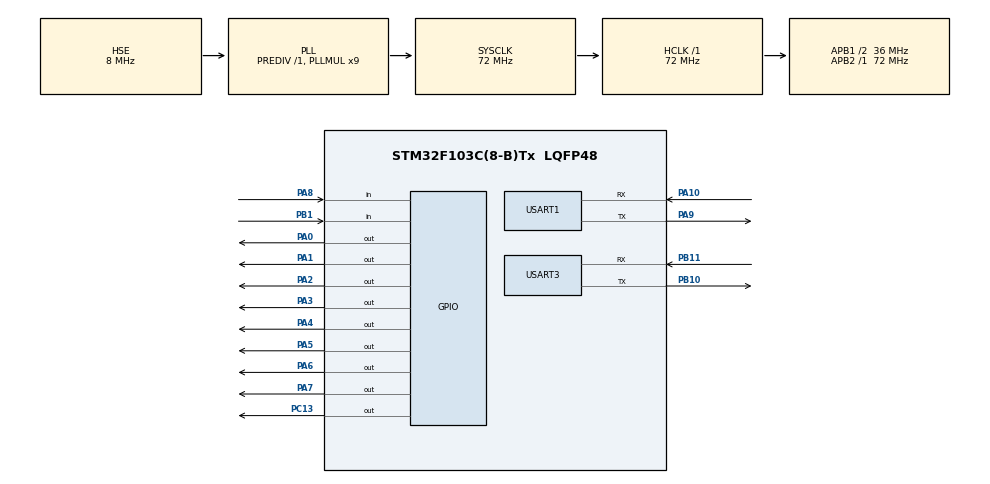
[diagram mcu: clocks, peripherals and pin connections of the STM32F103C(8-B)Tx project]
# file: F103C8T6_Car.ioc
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Dma.Request0=USART1_RX
Dma.Request1=USART3_RX
Dma.Request2=USART1_TX
Dma.Request3=USART3_TX
Dma.USART1_RX.0.Direction=DMA_PERIPH_TO_MEMORY
Dma.USART1_RX.0.Instance=DMA1_Channel5
Dma.USART1_RX.0.MemDataAlignment=DMA_MDATAALIGN_BYTE
Dma.USART1_RX.0.MemInc=DMA_MINC_ENABLE
Dma.USART1_RX.0.Mode=DMA_NORMAL
Dma.USART1_RX.0.PeriphDataAlignment=DMA_PDATAALIGN_BYTE
Dma.USART1_RX.0.PeriphInc=DMA_PINC_DISABLE
Dma.USART1_RX.0.Priority=DMA_PRIORITY_LOW
Dma.USART1_TX.2.Direction=DMA_MEMORY_TO_PERIPH
Dma.USART1_TX.2.Instance=DMA1_Channel4
Dma.USART1_TX.2.MemDataAlignment=DMA_MDATAALIGN_BYTE
Dma.USART1_TX.2.MemInc=DMA_MINC_ENABLE
Dma.USART1_TX.2.Mode=DMA_NORMAL
Dma.USART1_TX.2.PeriphDataAlignment=DMA_PDATAALIGN_BYTE
Dma.USART1_TX.2.PeriphInc=DMA_PINC_DISABLE
Dma.USART1_TX.2.Priority=DMA_PRIORITY_LOW
Dma.USART3_RX.1.Direction=DMA_PERIPH_TO_MEMORY
Dma.USART3_RX.1.Instance=DMA1_Channel3
Dma.USART3_RX.1.MemDataAlignment=DMA_MDATAALIGN_BYTE
Dma.USART3_RX.1.MemInc=DMA_MINC_ENABLE
Dma.USART3_RX.1.Mode=DMA_NORMAL
Dma.USART3_RX.1.PeriphDataAlignment=DMA_PDATAALIGN_BYTE
Dma.USART3_RX.1.PeriphInc=DMA_PINC_DISABLE
Dma.USART3_RX.1.Priority=DMA_PRIORITY_LOW
Dma.USART3_TX.3.Direction=DMA_MEMORY_TO_PERIPH
Dma.USART3_TX.3.Instance=DMA1_Channel2
Dma.USART3_TX.3.MemDataAlignment=DMA_MDATAALIGN_BYTE
Dma.USART3_TX.3.MemInc=DMA_MINC_ENABLE
Dma.USART3_TX.3.Mode=DMA_NORMAL
Dma.USART3_TX.3.PeriphDataAlignment=DMA_PDATAALIGN_BYTE
Dma.USART3_TX.3.PeriphInc=DMA_PINC_DISABLE
Dma.USART3_TX.3.Priority=DMA_PRIORITY_LOW
FREERTOS.Tasks01=defaultTask,0,64,StartDefaultTask,Default,NULL,Dynamic,NULL,NULL;controlTask,-1,64,StartControlTask,Default,NULL,Dynamic,NULL,NULL
FREERTOS.configMINIMAL_STACK_SIZE=64
FREERTOS.configTOTAL_HEAP_SIZE=2048
Mcu.Family=STM32F1
Mcu.Name=STM32F103C(8-B)Tx
Mcu.Package=LQFP48
NVIC.DMA1_Channel2_IRQn=true\:5\:0\:false\:false\:true\:true\:false
NVIC.DMA1_Channel3_IRQn=true\:5\:0\:false\:false\:true\:true\:false
NVIC.DMA1_Channel4_IRQn=true\:5\:0\:false\:false\:true\:true\:false
NVIC.DMA1_Channel5_IRQn=true\:5\:0\:false\:false\:true\:true\:false
NVIC.PriorityGroup=NVIC_PRIORITYGROUP_4
NVIC.TIM1_UP_IRQn=true\:0\:0\:false\:false\:true\:false\:false
NVIC.TimeBase=TIM1_UP_IRQn
NVIC.TimeBaseIP=TIM1
NVIC.USART1_IRQn=true\:5\:0\:false\:false\:true\:true\:true
NVIC.USART3_IRQn=true\:5\:0\:false\:false\:true\:true\:true
PA0-WKUP.Signal=GPIO_Output
PA1.Signal=GPIO_Output
PA10.Mode=Asynchronous
PA10.Signal=USART1_RX
PA13.Mode=Serial_Wire
PA13.Signal=SYS_JTMS-SWDIO
PA14.Mode=Serial_Wire
PA14.Signal=SYS_JTCK-SWCLK
PA2.Signal=GPIO_Output
PA3.Signal=GPIO_Output
PA4.Signal=GPIO_Output
PA5.Signal=GPIO_Output
PA6.Signal=GPIO_Output
PA7.Signal=GPIO_Output
PA8.GPIO_PuPd=GPIO_PULLUP
PA8.Signal=GPIO_Input
PA9.Mode=Asynchronous
PA9.Signal=USART1_TX
PB1.GPIO_PuPd=GPIO_PULLUP
PB1.Signal=GPIO_Input
PB10.Mode=Asynchronous
PB10.Signal=USART3_TX
PB11.Mode=Asynchronous
PB11.Signal=USART3_RX
PC13-TAMPER-RTC.Signal=GPIO_Output
PC14-OSC32_IN.Mode=LSE-External-Oscillator
PC14-OSC32_IN.Signal=RCC_OSC32_IN
PC15-OSC32_OUT.Mode=LSE-External-Oscillator
PC15-OSC32_OUT.Signal=RCC_OSC32_OUT
PD0-OSC_IN.Mode=HSE-External-Oscillator
PD0-OSC_IN.Signal=RCC_OSC_IN
PD1-OSC_OUT.Mode=HSE-External-Oscillator
PD1-OSC_OUT.Signal=RCC_OSC_OUT
ProjectManager.HeapSize=0x1000
ProjectManager.StackSize=0x1000
ProjectManager.TargetToolchain=MDK-ARM V5
RCC.AHBFreq_Value=72000000
RCC.APB1CLKDivider=RCC_HCLK_DIV2
RCC.APB1Freq_Value=36000000
RCC.APB1TimFreq_Value=72000000
RCC.APB2Freq_Value=72000000
RCC.APB2TimFreq_Value=72000000
RCC.HCLKFreq_Value=72000000
RCC.PLLMUL=RCC_PLL_MUL9
RCC.PLLSourceVirtual=RCC_PLLSOURCE_HSE
RCC.SYSCLKFreq_VALUE=72000000
RCC.SYSCLKSource=RCC_SYSCLKSOURCE_PLLCLK
RCC.USBFreq_Value=48000000
RCC.USBPrescaler=RCC_USBCLKSOURCE_PLL_DIV1_5
USART1.VirtualMode=VM_ASYNC
USART3.VirtualMode=VM_ASYNC
VP_CRC_VS_CRC.Mode=CRC_Activate
VP_FREERTOS_VS_ENABLE.Mode=Enabled
VP_IWDG_VS_IWDG.Mode=IWDG_Activate
VP_SYS_VS_tim1.Mode=TIM1
board=F103C8T6_Car

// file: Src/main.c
/**
  ******************************************************************************
  * File Name          : main.c
  * Description        : Main program body
  ******************************************************************************
  * This notice applies to any and all portions of this file
  * that are not between comment pairs USER CODE BEGIN and
  * USER CODE END. Other portions of this file, whether
  * inserted by the user or by software development tools
  * are owned by their respective copyright owners.
  *
  * Copyright (c) 2018 STMicroelectronics International N.V.
  * All rights reserved.
  *
  * Redistribution and use in source and binary forms, with or without
  * modification, are permitted, provided that the following conditions are met:
  *
  * 1. Redistribution of source code must retain the above copyright notice,
  *    this list of conditions and the following disclaimer.
  * 2. Redistributions in binary form must reproduce the above copyright notice,
  *    this list of conditions and the following disclaimer in the documentation
  *    and/or other materials provided with the distribution.
  * 3. Neither the name of STMicroelectronics nor the names of other
  *    contributors to this software may be used to endorse or promote products
  *    derived from this software without specific written permission.
  * 4. This software, including modifications and/or derivative works of this
  *    software, must execute solely and exclusively on microcontroller or
  *    microprocessor devices manufactured by or for STMicroelectronics.
  * 5. Redistribution and use of this software other than as permitted under
  *    this license is void and will automatically terminate your rights under
  *    this license.
  *
  * THIS SOFTWARE IS PROVIDED BY STMICROELECTRONICS AND CONTRIBUTORS "AS IS"
  * AND ANY EXPRESS, IMPLIED OR STATUTORY WARRANTIES, INCLUDING, BUT NOT
  * LIMITED TO, THE IMPLIED WARRANTIES OF MERCHANTABILITY, FITNESS FOR A
  * PARTICULAR PURPOSE AND NON-INFRINGEMENT OF THIRD PARTY INTELLECTUAL PROPERTY
  * RIGHTS ARE DISCLAIMED TO THE FULLEST EXTENT PERMITTED BY LAW. IN NO EVENT
  * SHALL STMICROELECTRONICS OR CONTRIBUTORS BE LIABLE FOR ANY DIRECT, INDIRECT,
  * INCIDENTAL, SPECIAL, EXEMPLARY, OR CONSEQUENTIAL DAMAGES (INCLUDING, BUT NOT
  * LIMITED TO, PROCUREMENT OF SUBSTITUTE GOODS OR SERVICES; LOSS OF USE, DATA,
  * OR PROFITS; OR BUSINESS INTERRUPTION) HOWEVER CAUSED AND ON ANY THEORY OF
  * LIABILITY, WHETHER IN CONTRACT, STRICT LIABILITY, OR TORT (INCLUDING
  * NEGLIGENCE OR OTHERWISE) ARISING IN ANY WAY OUT OF THE USE OF THIS SOFTWARE,
  * EVEN IF ADVISED OF THE POSSIBILITY OF SUCH DAMAGE.
  *
  ******************************************************************************
  */

#include "main.h"
#include "stm32f1xx_hal.h"
#include "cmsis_os.h"
#include "crc.h"
#include "dma.h"
#include "iwdg.h"
#include "usart.h"
#include "gpio.h"

/* USER CODE BEGIN PV */
/* Private variables ---------------------------------------------------------*/

/* USER CODE END PV */

void SystemClock_Config(void);
void MX_FREERTOS_Init(void);

/* USER CODE BEGIN PFP */
/* Private function prototypes -----------------------------------------------*/

/* USER CODE END PFP */

int main(void)
{

  /* MCU Configuration----------------------------------------------------------*/

  /* Reset of all peripherals, Initializes the Flash interface and the Systick. */
  HAL_Init();

  /* Configure the system clock */
  SystemClock_Config();

  /* Initialize all configured peripherals */
  MX_GPIO_Init();
  MX_DMA_Init();
  MX_CRC_Init();
  MX_IWDG_Init();
  MX_USART1_UART_Init();
  MX_USART3_UART_Init();

  /* Call init function for freertos objects (in freertos.c) */
  MX_FREERTOS_Init();

  /* Start scheduler */
  osKernelStart();

  /* We should never get here as control is now taken by the scheduler */

  /* Infinite loop */
  while (1)
  {

  }

}

/** System Clock Configuration
*/
void SystemClock_Config(void)
{

  RCC_OscInitTypeDef RCC_OscInitStruct;
  RCC_ClkInitTypeDef RCC_ClkInitStruct;

    /**Initializes the CPU, AHB and APB busses clocks
    */
  RCC_OscInitStruct.OscillatorType = RCC_OSCILLATORTYPE_LSI|RCC_OSCILLATORTYPE_HSE;
  RCC_OscInitStruct.HSEState = RCC_HSE_ON;
  RCC_OscInitStruct.HSEPredivValue = RCC_HSE_PREDIV_DIV1;
  RCC_OscInitStruct.HSIState = RCC_HSI_ON;
  RCC_OscInitStruct.LSIState = RCC_LSI_ON;
  RCC_OscInitStruct.PLL.PLLState = RCC_PLL_ON;
  RCC_OscInitStruct.PLL.PLLSource = RCC_PLLSOURCE_HSE;
  RCC_OscInitStruct.PLL.PLLMUL = RCC_PLL_MUL9;
  if (HAL_RCC_OscConfig(&RCC_OscInitStruct) != HAL_OK)
  {
    _Error_Handler(__FILE__, __LINE__);
  }

    /**Initializes the CPU, AHB and APB busses clocks
    */
  RCC_ClkInitStruct.ClockType = RCC_CLOCKTYPE_HCLK|RCC_CLOCKTYPE_SYSCLK
                              |RCC_CLOCKTYPE_PCLK1|RCC_CLOCKTYPE_PCLK2;
  RCC_ClkInitStruct.SYSCLKSource = RCC_SYSCLKSOURCE_PLLCLK;
  RCC_ClkInitStruct.AHBCLKDivider = RCC_SYSCLK_DIV1;
  RCC_ClkInitStruct.APB1CLKDivider = RCC_HCLK_DIV2;
  RCC_ClkInitStruct.APB2CLKDivider = RCC_HCLK_DIV1;

  if (HAL_RCC_ClockConfig(&RCC_ClkInitStruct, FLASH_LATENCY_2) != HAL_OK)
  {
    _Error_Handler(__FILE__, __LINE__);
  }

    /**Configure the Systick interrupt time
    */
  HAL_SYSTICK_Config(HAL_RCC_GetHCLKFreq()/1000);

    /**Configure the Systick
    */
  HAL_SYSTICK_CLKSourceConfig(SYSTICK_CLKSOURCE_HCLK);

  /* SysTick_IRQn interrupt configuration */
  HAL_NVIC_SetPriority(SysTick_IRQn, 15, 0);
}

void HAL_TIM_PeriodElapsedCallback(TIM_HandleTypeDef *htim)
{
  if (htim->Instance == TIM1) {
    HAL_IncTick();
  }
}

void _Error_Handler(char * file, int line)
{
  while(1)
  {
  }
}

/************************ (C) COPYRIGHT STMicroelectronics *****END OF FILE****/

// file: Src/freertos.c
/**
  ******************************************************************************
  * File Name          : freertos.c
  * Description        : Code for freertos applications
  ******************************************************************************
  * This notice applies to any and all portions of this file
  * that are not between comment pairs USER CODE BEGIN and
  * USER CODE END. Other portions of this file, whether
  * inserted by the user or by software development tools
  * are owned by their respective copyright owners.
  *
  * Copyright (c) 2018 STMicroelectronics International N.V.
  * All rights reserved.
  *
  * Redistribution and use in source and binary forms, with or without
  * modification, are permitted, provided that the following conditions are met:
  *
  * 1. Redistribution of source code must retain the above copyright notice,
  *    this list of conditions and the following disclaimer.
  * 2. Redistributions in binary form must reproduce the above copyright notice,
  *    this list of conditions and the following disclaimer in the documentation
  *    and/or other materials provided with the distribution.
  * 3. Neither the name of STMicroelectronics nor the names of other
  *    contributors to this software may be used to endorse or promote products
  *    derived from this software without specific written permission.
  * 4. This software, including modifications and/or derivative works of this
  *    software, must execute solely and exclusively on microcontroller or
  *    microprocessor devices manufactured by or for STMicroelectronics.
  * 5. Redistribution and use of this software other than as permitted under
  *    this license is void and will automatically terminate your rights under
  *    this license.
  *
  * THIS SOFTWARE IS PROVIDED BY STMICROELECTRONICS AND CONTRIBUTORS "AS IS"
  * AND ANY EXPRESS, IMPLIED OR STATUTORY WARRANTIES, INCLUDING, BUT NOT
  * LIMITED TO, THE IMPLIED WARRANTIES OF MERCHANTABILITY, FITNESS FOR A
  * PARTICULAR PURPOSE AND NON-INFRINGEMENT OF THIRD PARTY INTELLECTUAL PROPERTY
  * RIGHTS ARE DISCLAIMED TO THE FULLEST EXTENT PERMITTED BY LAW. IN NO EVENT
  * SHALL STMICROELECTRONICS OR CONTRIBUTORS BE LIABLE FOR ANY DIRECT, INDIRECT,
  * INCIDENTAL, SPECIAL, EXEMPLARY, OR CONSEQUENTIAL DAMAGES (INCLUDING, BUT NOT
  * LIMITED TO, PROCUREMENT OF SUBSTITUTE GOODS OR SERVICES; LOSS OF USE, DATA,
  * OR PROFITS; OR BUSINESS INTERRUPTION) HOWEVER CAUSED AND ON ANY THEORY OF
  * LIABILITY, WHETHER IN CONTRACT, STRICT LIABILITY, OR TORT (INCLUDING
  * NEGLIGENCE OR OTHERWISE) ARISING IN ANY WAY OUT OF THE USE OF THIS SOFTWARE,
  * EVEN IF ADVISED OF THE POSSIBILITY OF SUCH DAMAGE.
  *
  ******************************************************************************
  */

#include "FreeRTOS.h"
#include "task.h"
#include "cmsis_os.h"

/* USER CODE BEGIN Includes */
#include <string.h>
#include "iwdg.h"
#include "usart.h"
#include "CarControl.h"
/* USER CODE END Includes */

osThreadId defaultTaskHandle;
osThreadId controlTaskHandle;

/* USER CODE BEGIN Variables */
#define RX_SIZE 32
static uint8_t Rx1[RX_SIZE];
static uint8_t Rx3[RX_SIZE];

static osMailQId MailBoxId;
struct _Mail {
	uint8_t  buf[RX_SIZE];
	uint32_t size;
};
/* USER CODE END Variables */

void StartDefaultTask(void const * argument);
void StartControlTask(void const * argument);

void MX_FREERTOS_Init(void); /* (MISRA C 2004 rule 8.1) */

/* USER CODE BEGIN FunctionPrototypes */
static void ExecCarCmd(uint8_t *, uint16_t);
/* USER CODE END FunctionPrototypes */

/* Hook prototypes */

/* Init FreeRTOS */

void MX_FREERTOS_Init(void) {

  /* Create the thread(s) */
  /* definition and creation of defaultTask */
  osThreadDef(defaultTask, StartDefaultTask, osPriorityNormal, 0, 64);
  defaultTaskHandle = osThreadCreate(osThread(defaultTask), NULL);

  /* definition and creation of controlTask */
  osThreadDef(controlTask, StartControlTask, osPriorityBelowNormal, 0, 64);
  controlTaskHandle = osThreadCreate(osThread(controlTask), NULL);

}

/* StartDefaultTask function */
void StartDefaultTask(void const * argument)
{

  /* USER CODE BEGIN StartDefaultTask */
	const struct _CarControl *CarController = GetCarController();
	/* Infinite loop */
	for (;;) {
		HAL_IWDG_Refresh(&hiwdg);
		if (!HAL_GPIO_ReadPin(GPIOA, GPIO_PIN_8) && !HAL_GPIO_ReadPin(GPIOB, GPIO_PIN_1))
		{
			CarController->Stop();
			HAL_GPIO_TogglePin(GPIOC, GPIO_PIN_13);
		}
		else
			HAL_GPIO_WritePin(GPIOC, GPIO_PIN_13, GPIO_PIN_SET);
		osDelay(250);
	}
  /* USER CODE END StartDefaultTask */
}

/* StartControlTask function */
void StartControlTask(void const * argument)
{
  /* USER CODE BEGIN StartControlTask */
	osEvent event;
	struct _Mail *Mail = NULL;

	osMailQDef(MailBox, 8, struct _Mail);
	MailBoxId = osMailCreate(osMailQ(MailBox), NULL);

	HAL_UART_Receive_DMA(&huart1, Rx1, sizeof(Rx1));
	__HAL_UART_CLEAR_IDLEFLAG(&huart1);
	__HAL_UART_ENABLE_IT(&huart1, UART_IT_IDLE);

	HAL_UART_Receive_DMA(&huart3, Rx3, sizeof(Rx3));
	__HAL_UART_CLEAR_IDLEFLAG(&huart3);
	__HAL_UART_ENABLE_IT(&huart3, UART_IT_IDLE);
	/* Infinite loop */
	for (;;) {
		event = osMailGet(MailBoxId, osWaitForever);
		if (event.status == osEventMail) {
			Mail = event.value.p;
			ExecCarCmd(Mail->buf, Mail->size);
			osMailFree(MailBoxId, Mail);
		}
	}
  /* USER CODE END StartControlTask */
}

/* USER CODE BEGIN Application */
static void ExecCarCmd(uint8_t *p, uint16_t size)
{
	const struct _CarControl *CarController = GetCarController();
	switch (p[0]) {
	case '1':
		CarController->ForLeft();
		break;
	case '2':
		CarController->Forward();
		break;
	case '3':
		CarController->ForRight();
		break;
	case '4':
		CarController->Left();
		break;
	case '5':
		CarController->Stop();
		break;
	case '6':
		CarController->Right();
		break;
	case '7':
		CarController->BackLeft();
		break;
	case '8':
		CarController->Backward();
		break;
	case '9':
		CarController->BackRight();
		break;
	default:
		CarController->Stop();
		break;
	}
}

void UART_IDLE_Handler(UART_HandleTypeDef *huart)
{
	struct _Mail *Mail = NULL;

	if(__HAL_UART_GET_FLAG(huart, UART_FLAG_IDLE))
	{
		__HAL_UART_CLEAR_IDLEFLAG(huart);
		__HAL_UART_DISABLE_IT(huart, UART_IT_IDLE);
		HAL_UART_DMAStop(huart);

		Mail = osMailCAlloc(MailBoxId, osWaitForever);
		if(Mail != NULL)
		{
			Mail->size = huart->RxXferSize - __HAL_DMA_GET_COUNTER(huart->hdmarx);
			memcpy(Mail->buf, huart->pRxBuffPtr, Mail->size);
			osMailPut(MailBoxId, Mail);
		}

		HAL_UART_Receive_DMA(huart, huart->pRxBuffPtr, huart->RxXferSize);
		__HAL_UART_CLEAR_IDLEFLAG(huart);
		__HAL_UART_ENABLE_IT(huart, UART_IT_IDLE);
	}
}
/* USER CODE END Application */

/************************ (C) COPYRIGHT STMicroelectronics *****END OF FILE****/
